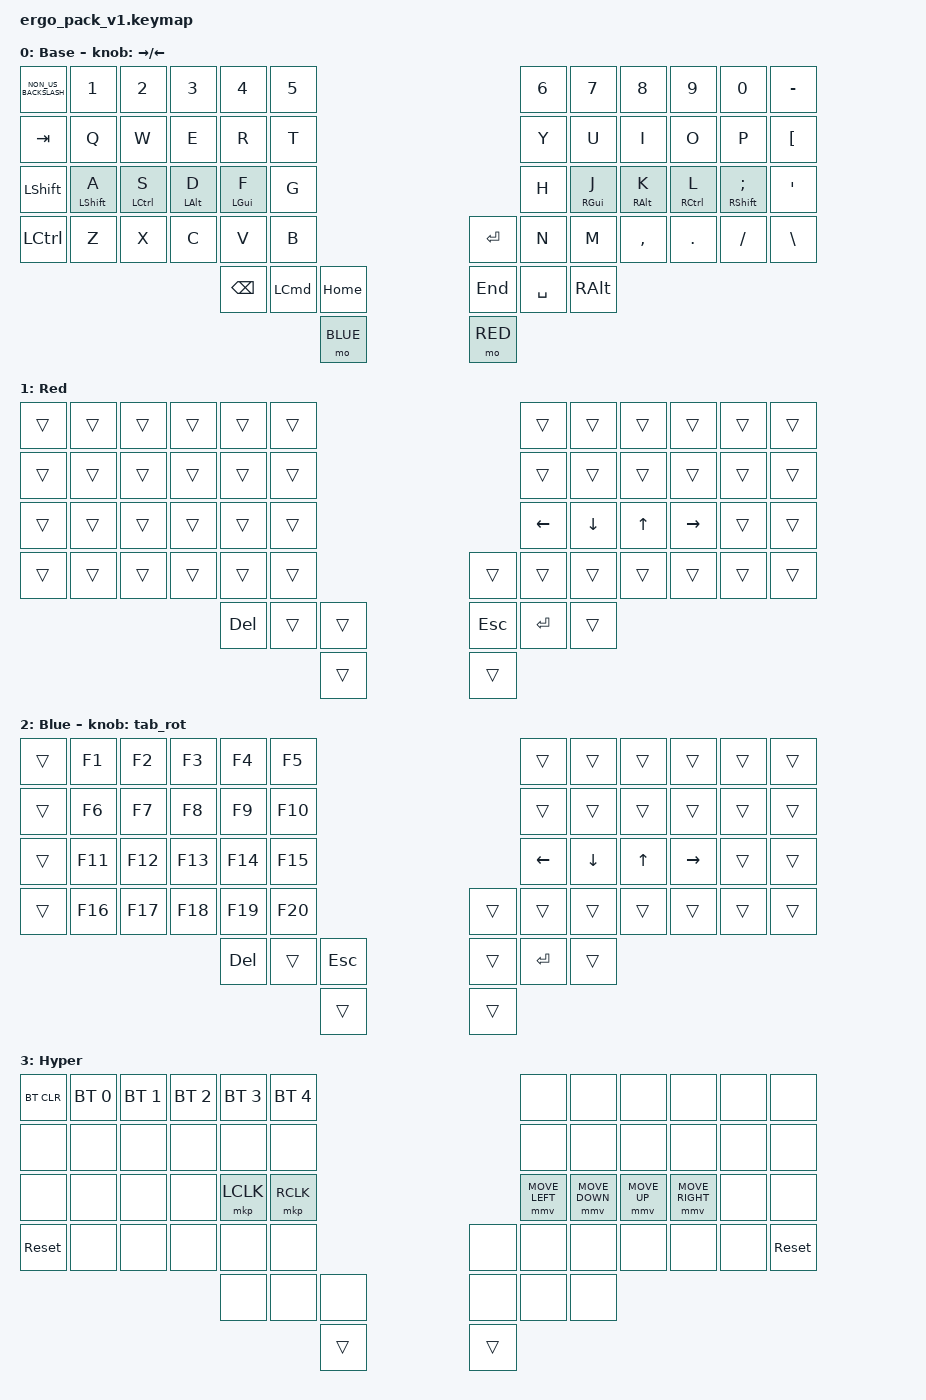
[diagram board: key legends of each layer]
/* Keep every built-in behavior compiled in so ZMK Studio can offer the full set
 * when reassigning keys. Without this, only behaviors referenced below survive
 * the dead-code pass and Studio's behavior picker is sparse. */
#define ZMK_BEHAVIORS_KEEP_ALL

#include <behaviors.dtsi>
#include <dt-bindings/zmk/keys.h>
#include <dt-bindings/zmk/bt.h>
#include <dt-bindings/zmk/pointing.h>

/*
 * Encoder -> HID mouse wheel scroll (needs CONFIG_ZMK_POINTING=y on the board — see xiao_mg24_zmk_defconfig).
 * Mouse actions all share the same stack: bind keys to &msc (scroll), &mmv (move), &mkp (buttons);
 * macros are in pointing.h — see docs/keymaps/behaviors/mouse-emulation.md.
 * Swap the two MOVE_Y values in sensor-bindings if scroll direction feels inverted.
 */

#define BASE  0
#define RED   1
#define BLUE  2
#define HYPER 3

#define NO_AE    APOSTROPHE
#define NO_OE    SEMICOLON
#define NO_AA    LEFT_BRACKET
#define NO_AT    BACKSLASH
#define NO_MINUS SLASH
#define NO_PLUS  MINUS
#define NO_APO   NON_US_BACKSLASH

/ {
    behaviors {
        /* Homerow mods: tap-preferred so the mod only fires if the homerow key is
         * actually held past tapping-term-ms. Fast roll-over typing stays as taps. */
        hm: homerow_mods {
            compatible = "zmk,behavior-hold-tap";
            #binding-cells = <2>;
            flavor = "tap-preferred";
            tapping-term-ms = <200>;
            quick-tap-ms = <175>;
            bindings = <&kp>, <&kp>;
        };

        tab_next: tab_next {
            compatible = "zmk,behavior-macro";
            #binding-cells = <0>;
            bindings =
                <&macro_press &kp LCTRL>
                , <&macro_tap &kp TAB>
                , <&macro_release &kp LCTRL>;
        };

        tab_prev: tab_prev {
            compatible = "zmk,behavior-macro";
            #binding-cells = <0>;
            bindings =
                <&macro_press &kp LCTRL &kp LSHIFT>
                , <&macro_tap &kp TAB>
                , <&macro_release &kp LSHIFT &kp LCTRL>;
        };

        tab_rot: tab_rot {
            compatible = "zmk,behavior-sensor-rotate";
            #sensor-binding-cells = <0>;
            bindings = <&tab_next>, <&tab_prev>;
        };
    };

    /* Hold left inner thumb (BLUE) + right inner thumb (RED) → HYPER auto-activates.
     * Conditional layers spec lists which momentary layers must all be active for the then-layer
     * to turn on; release either thumb and HYPER drops back. */
    conditional_layers {
        compatible = "zmk,conditional-layers";
        hyper_when_both {
            if-layers = <BLUE RED>;
            then-layer = <HYPER>;
        };
    };

    keymap {
        compatible = "zmk,keymap";
        default_layer {
            display-name = "Base";
            bindings = <
                &kp NO_APO  &kp N1       &kp N2       &kp N3      &kp N4      &kp N5                            &kp N6     &kp N7      &kp N8      &kp N9       &kp N0           &kp NO_PLUS
                &kp TAB     &kp Q        &kp W        &kp E       &kp R       &kp T                             &kp Y      &kp U       &kp I       &kp O        &kp P            &kp NO_AA
                &kp LSHFT   &hm LSHFT A  &hm LCTRL S  &hm LALT D  &hm LGUI F  &kp G                             &kp H      &hm RGUI J  &hm RALT K  &hm RCTRL L  &hm RSHFT NO_OE  &kp NO_AE
                &kp LCTRL   &kp Z        &kp X        &kp C       &kp V       &kp B                    &kp RET  &kp N      &kp M       &kp COMMA   &kp PERIOD   &kp NO_MINUS     &kp NO_AT
                                                                  &kp BSPC    &kp LCMD  &kp HOME       &kp END  &kp SPACE  &kp RALT
                                                                                        &mo BLUE       &mo RED
            >;

            sensor-bindings = <&inc_dec_kp RIGHT LEFT>;
        };

        /* RED — nav + arrows on the right hand, function keys on the left number row. */
        red_layer {
            display-name = "Red";
            bindings = <
                &trans      &trans   &trans  &trans  &trans    &trans                             &trans     &trans    &trans     &trans      &trans        &trans
                &trans      &trans   &trans  &trans  &trans    &trans                             &trans     &trans    &trans     &trans      &trans        &trans
                &trans      &trans   &trans  &trans  &trans    &trans                             &kp LEFT   &kp DOWN  &kp UP     &kp RIGHT   &trans        &trans
                &trans      &trans   &trans  &trans  &trans    &trans                    &trans   &trans     &trans    &trans     &trans      &trans        &trans
                                                     &kp DEL   &trans    &trans          &kp ESC  &kp RET    &trans
                                                                         &trans          &trans
            >;
        };

        /* BLUE — symbols on the right hand. Mirrors a typical sym-layer; tweak to taste. */
        blue_layer {
            display-name = "Blue";
            bindings = <
                &trans      &kp F1   &kp F2  &kp F3  &kp F4    &kp F5                             &trans     &trans    &trans     &trans      &trans        &trans
                &trans      &kp F6   &kp F7  &kp F8  &kp F9    &kp F10                            &trans     &trans    &trans     &trans      &trans        &trans
                &trans      &kp F11  &kp F12 &kp F13 &kp F14   &kp F15                            &kp LEFT   &kp DOWN  &kp UP     &kp RIGHT   &trans        &trans
                &trans      &kp F16  &kp F17 &kp F18 &kp F19   &kp F20                   &trans   &trans     &trans    &trans     &trans      &trans        &trans
                                                     &kp DEL   &trans    &kp ESC         &trans   &kp RET    &trans
                                                                         &trans          &trans
            >;

            sensor-bindings = <&tab_rot>;
        };

        /* HYPER — Bluetooth profile management + bootloader/reset. Auto-engaged when BLUE+RED
         * are both held (see conditional_layers). Add system-level keys here later. */
        hyper_layer {
            display-name = "Hyper";
            bindings = <
                &bt BT_CLR  &bt BT_SEL 0  &bt BT_SEL 1  &bt BT_SEL 2  &bt BT_SEL 3  &bt BT_SEL 4                         &none          &none  &none      &none         &none            &none
                &none       &none         &none         &none         &none         &none                                &none          &none  &none      &none         &none            &none
                &none       &none         &none         &none         &mkp LCLK     &mkp RCLK                            &mmv MOVE_LEFT &mmv   MOVE_DOWN  &mmv MOVE_UP  &mmv MOVE_RIGHT  &none         &none
                &sys_reset  &none         &none         &none         &none         &none                      &none     &none          &none  &none      &none         &none            &sys_reset
                                                                      &none         &none    &none             &none     &none          &none
                                                                                             &trans            &trans
            >;
        };
    };
};
